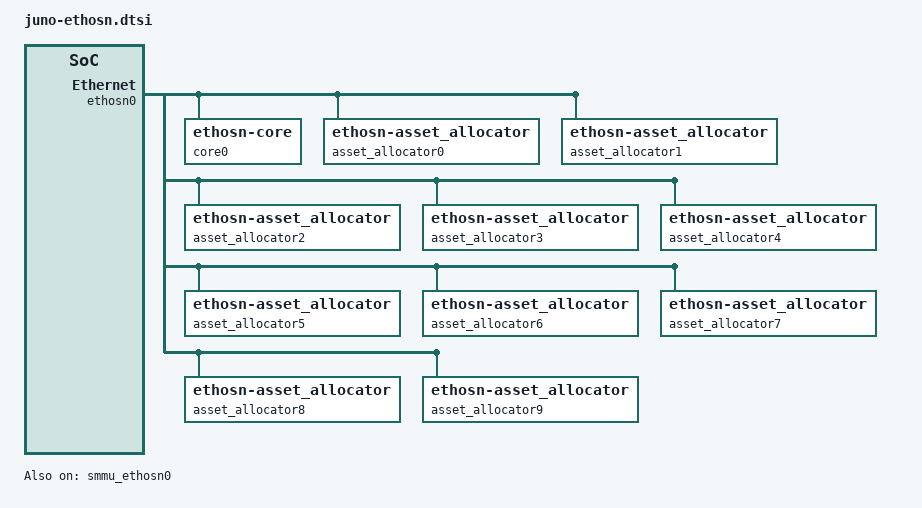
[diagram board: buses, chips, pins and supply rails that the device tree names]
/*
 * Copyright (c) 2021-2023, Arm Limited. All rights reserved.
 *
 * SPDX-License-Identifier: BSD-3-Clause
 */

/*
 * This device tree is only an example and some properties have been omitted.
 *
 * Refer to the Arm(R) Ethos(TM)-N driver stack for complete device tree examples.
 * https://github.com/ARM-software/ethos-n-driver-stack
 */

/ {
	#address-cells = <2>;
	#size-cells = <2>;

	smmu_ethosn0: iommu@6f400000 {
		compatible = "arm,smmu-v3";
		reg = <0 0x6f400000 0 0x80000>;
		status = "okay";
		/* msi-parent omitted */
		#iommu-cells = <0x1>;
	};

	ethosn0: ethosn@6f300000 {
		 compatible = "ethosn";
		 reg = <0 0x6f300000 0 0x00100000>;
		 status = "okay";

		 core0 {
			 compatible = "ethosn-core";
			 status = "okay";

			 main_allocator {
				 compatible = "ethosn-main_allocator";
				 status = "okay";

				 firmware {
					 compatible = "ethosn-memory";
					 iommus = <&smmu_ethosn0 0>;
				 };

				 working_data {
					 compatible = "ethosn-memory";
					 iommus = <&smmu_ethosn0 1>;
				 };
			 };
		 };

		 asset_allocator0 {
			 compatible = "ethosn-asset_allocator";
			 status = "okay";

			 command_stream {
				 compatible = "ethosn-memory";
				 iommus = <&smmu_ethosn0 4>;
			 };

			 weight_data {
				 compatible = "ethosn-memory";
				 iommus = <&smmu_ethosn0 5>;
			 };

			 buffer_data {
				 compatible = "ethosn-memory";
				 iommus = <&smmu_ethosn0 6>;
			 };

			 intermediate_data {
				 compatible = "ethosn-memory";
				 iommus = <&smmu_ethosn0 7>;
			 };
		 };

		 asset_allocator1 {
			 compatible = "ethosn-asset_allocator";
			 status = "okay";

			 command_stream {
				 compatible = "ethosn-memory";
				 iommus = <&smmu_ethosn0 8>;
			 };

			 weight_data {
				 compatible = "ethosn-memory";
				 iommus = <&smmu_ethosn0 9>;
			 };

			 buffer_data {
				 compatible = "ethosn-memory";
				 iommus = <&smmu_ethosn0 10>;
			 };

			 intermediate_data {
				 compatible = "ethosn-memory";
				 iommus = <&smmu_ethosn0 11>;
			 };
		 };

		 asset_allocator2 {
			 compatible = "ethosn-asset_allocator";
			 status = "okay";

			 command_stream {
				 compatible = "ethosn-memory";
				 iommus = <&smmu_ethosn0 12>;
			 };

			 weight_data {
				 compatible = "ethosn-memory";
				 iommus = <&smmu_ethosn0 13>;
			 };

			 buffer_data {
				 compatible = "ethosn-memory";
				 iommus = <&smmu_ethosn0 14>;
			 };

			 intermediate_data {
				 compatible = "ethosn-memory";
				 iommus = <&smmu_ethosn0 15>;
			 };
		 };

		 asset_allocator3 {
			 compatible = "ethosn-asset_allocator";
			 status = "okay";

			 command_stream {
				 compatible = "ethosn-memory";
				 iommus = <&smmu_ethosn0 16>;
			 };

			 weight_data {
				 compatible = "ethosn-memory";
				 iommus = <&smmu_ethosn0 17>;
			 };

			 buffer_data {
				 compatible = "ethosn-memory";
				 iommus = <&smmu_ethosn0 18>;
			 };

			 intermediate_data {
				 compatible = "ethosn-memory";
				 iommus = <&smmu_ethosn0 19>;
			 };
		 };

		 asset_allocator4 {
			 compatible = "ethosn-asset_allocator";
			 status = "okay";

			 command_stream {
				 compatible = "ethosn-memory";
				 iommus = <&smmu_ethosn0 20>;
			 };

			 weight_data {
				 compatible = "ethosn-memory";
				 iommus = <&smmu_ethosn0 21>;
			 };

			 buffer_data {
				 compatible = "ethosn-memory";
				 iommus = <&smmu_ethosn0 22>;
			 };

			 intermediate_data {
				 compatible = "ethosn-memory";
				 iommus = <&smmu_ethosn0 23>;
			 };
		 };

		 asset_allocator5 {
			 compatible = "ethosn-asset_allocator";
			 status = "okay";

			 command_stream {
				 compatible = "ethosn-memory";
				 iommus = <&smmu_ethosn0 24>;
			 };

			 weight_data {
				 compatible = "ethosn-memory";
				 iommus = <&smmu_ethosn0 25>;
			 };

			 buffer_data {
				 compatible = "ethosn-memory";
				 iommus = <&smmu_ethosn0 26>;
			 };

			 intermediate_data {
				 compatible = "ethosn-memory";
				 iommus = <&smmu_ethosn0 27>;
			 };
		 };

		 asset_allocator6 {
			 compatible = "ethosn-asset_allocator";
			 status = "okay";

			 command_stream {
				 compatible = "ethosn-memory";
				 iommus = <&smmu_ethosn0 28>;
			 };

			 weight_data {
				 compatible = "ethosn-memory";
				 iommus = <&smmu_ethosn0 29>;
			 };

			 buffer_data {
				 compatible = "ethosn-memory";
				 iommus = <&smmu_ethosn0 30>;
			 };

			 intermediate_data {
				 compatible = "ethosn-memory";
				 iommus = <&smmu_ethosn0 31>;
			 };
		 };

		 asset_allocator7 {
			 compatible = "ethosn-asset_allocator";
			 status = "okay";

			 command_stream {
				 compatible = "ethosn-memory";
				 iommus = <&smmu_ethosn0 32>;
			 };

			 weight_data {
				 compatible = "ethosn-memory";
				 iommus = <&smmu_ethosn0 33>;
			 };

			 buffer_data {
				 compatible = "ethosn-memory";
				 iommus = <&smmu_ethosn0 34>;
			 };

			 intermediate_data {
				 compatible = "ethosn-memory";
				 iommus = <&smmu_ethosn0 35>;
			 };
		 };

		 asset_allocator8 {
			 compatible = "ethosn-asset_allocator";
			 status = "okay";

			 command_stream {
				 compatible = "ethosn-memory";
				 iommus = <&smmu_ethosn0 36>;
			 };

			 weight_data {
				 compatible = "ethosn-memory";
				 iommus = <&smmu_ethosn0 37>;
			 };

			 buffer_data {
				 compatible = "ethosn-memory";
				 iommus = <&smmu_ethosn0 38>;
			 };

			 intermediate_data {
				 compatible = "ethosn-memory";
				 iommus = <&smmu_ethosn0 39>;
			 };
		 };

		 asset_allocator9 {
			 compatible = "ethosn-asset_allocator";
			 status = "okay";

			 command_stream {
				 compatible = "ethosn-memory";
				 iommus = <&smmu_ethosn0 40>;
			 };

			 weight_data {
				 compatible = "ethosn-memory";
				 iommus = <&smmu_ethosn0 41>;
			 };

			 buffer_data {
				 compatible = "ethosn-memory";
				 iommus = <&smmu_ethosn0 42>;
			 };

			 intermediate_data {
				 compatible = "ethosn-memory";
				 iommus = <&smmu_ethosn0 43>;
			 };
		 };
	 };
};
